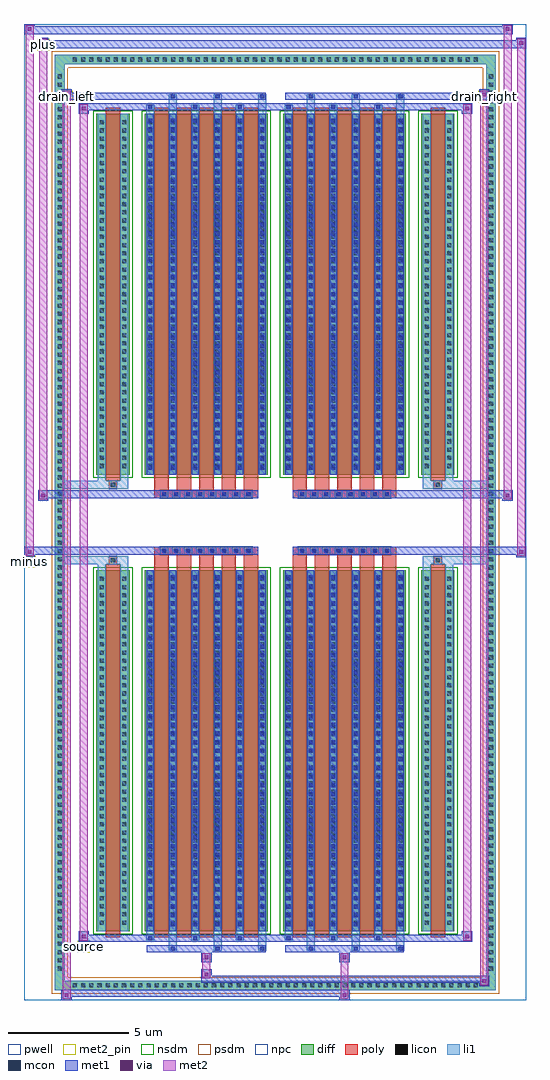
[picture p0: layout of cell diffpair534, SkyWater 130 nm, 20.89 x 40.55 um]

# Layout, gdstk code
import gdstk
lib = gdstk.Library(unit=1e-6, precision=5e-09)
def R(c, l, rs):  # rectangles x0, y0, x1, y1
    for r in rs: c.add(gdstk.rectangle(r[:2], r[2:], *l))
def A(c, l, x, y, w, h, nx, ny, dx, dy):  # array of equal rectangles
    R(c, l, [(x+i*dx, y+j*dy, x+i*dx+w, y+j*dy+h) for i in range(nx) for j in range(ny)])
def P(c, l, *ps):  # polygons
    for p in ps: c.add(gdstk.Polygon(p, *l))
pwell = (64, 44)
diff = (65, 20)
poly = (66, 20)
licon = (66, 44)
li1 = (67, 20)
mcon = (67, 44)
met1 = (68, 20)
via = (68, 44)
met2_pin = (69, 16)
met2 = (69, 20)
nsdm = (93, 44)
psdm = (94, 20)
npc = (95, 20)

diffpair534 = lib.new_cell('diffpair534')
R(diffpair534, pwell, [(-10.43,-19.84,10.43,20.71), (-7.75,-18.03,-0.01,-0.805), (0.01,-18.03,7.75,-0.805), (-7.75,0.805,-0.01,18.03), (0.01,0.805,7.75,18.03)])
A(diffpair534, diff, -8.535, -19.44, 0.41, 0.41, 50, 2, 0.34, 38.47)
A(diffpair534, diff, -9.16, -18.735, 0.41, 0.41, 1, 110, 0, 0.34)
A(diffpair534, diff, 8.75, -18.735, 0.41, 0.41, 1, 110, 0, 0.34)
R(diffpair534, diff, [(-8.535,-19.44,8.535,-19.03), (-9.16,-18.735,-8.75,18.735), (8.75,-18.735,9.16,18.735), (-7.44,-16.985,-6.06,-1.985), (-5.42,-16.985,-0.32,-1.985), (0.32,-16.985,5.42,-1.985), (6.06,-16.985,7.44,-1.985), (-7.44,1.985,-6.06,16.985), (-5.42,1.985,-0.32,16.985), (0.32,1.985,5.42,16.985), (6.06,1.985,7.44,16.985), (-8.535,19.03,8.535,19.44)])
P(diffpair534, diff, [(9.16,19.44),(-9.16,19.44),(-9.16,-19.03),(-8.75,-19.03),(-8.75,19.03),(8.75,19.03),(8.75,-19.03),(-8.75,-19.03),(-9.16,-19.03),(-9.16,-19.44),(9.16,-19.44)])
A(diffpair534, poly, -5.03, -17.235, 0.6, 15.5, 5, 2, 0.93, 18.97)
A(diffpair534, poly, 0.71, -17.235, 0.6, 15.5, 5, 2, 0.93, 18.97)
A(diffpair534, poly, -5.03, -1.735, 0.6, 0.4, 5, 2, 0.93, 3.07)
A(diffpair534, poly, 0.71, -1.735, 0.6, 0.4, 5, 2, 0.93, 3.07)
A(diffpair534, poly, -4.785, -1.335, 0.33, 0.33, 8, 2, 0.5, 2.34)
A(diffpair534, poly, 0.955, -1.335, 0.33, 0.33, 8, 2, 0.5, 2.34)
R(diffpair534, poly, [(-7.05,-17.235,-6.45,-1.735), (6.45,-17.235,7.05,-1.735), (-6.915,-1.735,-6.585,-1.405), (-6.915,-1.735,-6.585,-1.405), (6.585,-1.735,6.915,-1.405), (6.585,-1.735,6.915,-1.405), (-5.03,-1.335,-0.71,-1.005), (0.71,-1.335,5.03,-1.005), (-5.03,1.005,-0.71,1.335), (0.71,1.005,5.03,1.335), (-6.915,1.405,-6.585,1.735), (-6.915,1.405,-6.585,1.735), (6.585,1.405,6.915,1.735), (6.585,1.405,6.915,1.735), (-7.05,1.735,-6.45,17.235), (6.45,1.735,7.05,17.235)])
A(diffpair534, licon, -8.415, -19.32, 0.17, 0.17, 50, 2, 0.34, 38.47)
A(diffpair534, licon, -9.04, -18.615, 0.17, 0.17, 1, 110, 0, 0.34)
A(diffpair534, licon, 8.87, -18.615, 0.17, 0.17, 1, 110, 0, 0.34)
A(diffpair534, licon, -7.3, -16.71, 0.17, 0.17, 1, 43, 0, 0.34)
A(diffpair534, licon, -6.37, -16.71, 0.17, 0.17, 1, 43, 0, 0.34)
A(diffpair534, licon, -5.28, -16.71, 0.17, 0.17, 6, 43, 0.93, 0.34)
A(diffpair534, licon, 0.46, -16.71, 0.17, 0.17, 6, 43, 0.93, 0.34)
A(diffpair534, licon, 6.2, -16.71, 0.17, 0.17, 1, 43, 0, 0.34)
A(diffpair534, licon, 7.13, -16.71, 0.17, 0.17, 1, 43, 0, 0.34)
A(diffpair534, licon, -4.705, -1.255, 0.17, 0.17, 8, 2, 0.5, 2.34)
A(diffpair534, licon, 1.035, -1.255, 0.17, 0.17, 8, 2, 0.5, 2.34)
A(diffpair534, licon, -7.3, 2.26, 0.17, 0.17, 1, 43, 0, 0.34)
A(diffpair534, licon, -6.37, 2.26, 0.17, 0.17, 1, 43, 0, 0.34)
A(diffpair534, licon, -5.28, 2.26, 0.17, 0.17, 6, 43, 0.93, 0.34)
A(diffpair534, licon, 0.46, 2.26, 0.17, 0.17, 6, 43, 0.93, 0.34)
A(diffpair534, licon, 6.2, 2.26, 0.17, 0.17, 1, 43, 0, 0.34)
A(diffpair534, licon, 7.13, 2.26, 0.17, 0.17, 1, 43, 0, 0.34)
R(diffpair534, licon, [(-6.835,-1.655,-6.665,-1.485), (6.665,-1.655,6.835,-1.485), (-6.835,1.485,-6.665,1.655), (6.665,1.485,6.835,1.655)])
A(diffpair534, li1, -8.495, -19.4, 0.33, 0.33, 50, 2, 0.34, 38.47)
A(diffpair534, li1, -9.12, -18.695, 0.33, 0.33, 1, 110, 0, 0.34)
A(diffpair534, li1, 8.79, -18.695, 0.33, 0.33, 1, 110, 0, 0.34)
A(diffpair534, li1, -4.43, -17.79, 0.33, 0.805, 3, 2, 1.86, 34.775)
A(diffpair534, li1, -4.35, -17.79, 0.17, 0.17, 3, 2, 1.86, 35.41)
A(diffpair534, li1, 1.31, -17.79, 0.33, 0.805, 3, 2, 1.86, 34.775)
A(diffpair534, li1, 1.39, -17.79, 0.17, 0.17, 3, 2, 1.86, 35.41)
A(diffpair534, li1, -5.36, -17.36, 0.33, 0.375, 3, 2, 1.86, 34.345)
A(diffpair534, li1, -5.28, -17.36, 0.17, 0.17, 3, 2, 1.86, 34.55)
A(diffpair534, li1, 0.38, -17.36, 0.33, 0.375, 3, 2, 1.86, 34.345)
A(diffpair534, li1, 0.46, -17.36, 0.17, 0.17, 3, 2, 1.86, 34.55)
A(diffpair534, li1, -5.36, -16.985, 0.33, 15, 6, 2, 0.93, 18.97)
A(diffpair534, li1, 0.38, -16.985, 0.33, 15, 6, 2, 0.93, 18.97)
A(diffpair534, li1, -7.38, -16.79, 0.33, 0.33, 1, 43, 0, 0.34)
A(diffpair534, li1, -6.45, -16.79, 0.33, 0.33, 1, 43, 0, 0.34)
A(diffpair534, li1, -5.36, -16.79, 0.33, 0.33, 6, 43, 0.93, 0.34)
A(diffpair534, li1, 0.38, -16.79, 0.33, 0.33, 6, 43, 0.93, 0.34)
A(diffpair534, li1, 6.12, -16.79, 0.33, 0.33, 1, 43, 0, 0.34)
A(diffpair534, li1, 7.05, -16.79, 0.33, 0.33, 1, 43, 0, 0.34)
A(diffpair534, li1, -5.28, -16.77, 0.17, 0.17, 6, 41, 0.93, 0.36)
A(diffpair534, li1, -5.28, -16.77, 0.17, 14.57, 6, 2, 0.93, 18.97)
A(diffpair534, li1, 0.46, -16.77, 0.17, 0.17, 6, 41, 0.93, 0.36)
A(diffpair534, li1, 0.46, -16.77, 0.17, 14.57, 6, 2, 0.93, 18.97)
A(diffpair534, li1, -4.785, -1.335, 0.33, 0.33, 8, 2, 0.5, 2.34)
A(diffpair534, li1, 0.955, -1.335, 0.33, 0.33, 8, 2, 0.5, 2.34)
A(diffpair534, li1, -7.38, 2.18, 0.33, 0.33, 1, 43, 0, 0.34)
A(diffpair534, li1, -6.45, 2.18, 0.33, 0.33, 1, 43, 0, 0.34)
A(diffpair534, li1, -5.36, 2.18, 0.33, 0.33, 6, 43, 0.93, 0.34)
A(diffpair534, li1, 0.38, 2.18, 0.33, 0.33, 6, 43, 0.93, 0.34)
A(diffpair534, li1, 6.12, 2.18, 0.33, 0.33, 1, 43, 0, 0.34)
A(diffpair534, li1, 7.05, 2.18, 0.33, 0.33, 1, 43, 0, 0.34)
A(diffpair534, li1, -5.28, 2.2, 0.17, 0.17, 6, 41, 0.93, 0.36)
A(diffpair534, li1, 0.46, 2.2, 0.17, 0.17, 6, 41, 0.93, 0.36)
R(diffpair534, li1, [(-9.16,-19.44,-8.75,-19.03), (-9.16,-19.44,-8.75,-19.03), (-8.75,-19.44,8.75,-19.03), (8.75,-19.44,9.16,-19.03), (8.75,-19.44,9.16,-19.03), (-9.16,-19.03,-8.75,19.03), (8.75,-19.03,9.16,19.03), (-7.38,-16.985,-7.05,-1.985), (-6.45,-16.985,-6.12,-1.985), (6.12,-16.985,6.45,-1.985), (7.05,-16.985,7.38,-1.985), (-7.38,-1.985,-7.05,-1.405), (-6.45,-1.985,-6.12,-1.405), (6.12,-1.985,6.45,-1.405), (7.05,-1.985,7.38,-1.405), (-9.16,-1.735,-6.915,-1.405), (-7.38,-1.735,-6.915,-1.405), (-6.915,-1.735,-6.585,-1.405), (-6.585,-1.735,-6.12,-1.405), (6.12,-1.735,6.585,-1.405), (6.585,-1.735,6.915,-1.405), (6.585,-1.735,9.16,-1.405), (6.915,-1.735,7.38,-1.405), (-9.16,1.405,-6.915,1.735), (-7.38,1.405,-6.915,1.735), (-7.38,1.405,-7.05,1.985), (-6.915,1.405,-6.585,1.735), (-6.585,1.405,-6.12,1.735), (-6.45,1.405,-6.12,1.985), (6.12,1.405,6.585,1.735), (6.12,1.405,6.45,1.985), (6.585,1.405,6.915,1.735), (6.585,1.405,9.16,1.735), (6.915,1.405,7.38,1.735), (7.05,1.405,7.38,1.985), (-7.38,1.985,-7.05,16.985), (-6.45,1.985,-6.12,16.985), (6.12,1.985,6.45,16.985), (7.05,1.985,7.38,16.985), (-9.16,19.03,-8.75,19.44), (-9.16,19.03,-8.75,19.44), (-8.75,19.03,8.75,19.44), (8.75,19.03,9.16,19.44), (8.75,19.03,9.16,19.44)])
A(diffpair534, mcon, -4.35, -17.79, 0.17, 0.17, 3, 2, 1.86, 35.41)
A(diffpair534, mcon, 1.39, -17.79, 0.17, 0.17, 3, 2, 1.86, 35.41)
A(diffpair534, mcon, -5.28, -17.36, 0.17, 0.17, 3, 2, 1.86, 34.55)
A(diffpair534, mcon, 0.46, -17.36, 0.17, 0.17, 3, 2, 1.86, 34.55)
A(diffpair534, mcon, -5.28, -16.77, 0.17, 0.17, 6, 41, 0.93, 0.36)
A(diffpair534, mcon, 0.46, -16.77, 0.17, 0.17, 6, 41, 0.93, 0.36)
A(diffpair534, mcon, -4.705, -1.255, 0.17, 0.17, 8, 2, 0.5, 2.34)
A(diffpair534, mcon, 1.035, -1.255, 0.17, 0.17, 8, 2, 0.5, 2.34)
A(diffpair534, mcon, -5.28, 2.2, 0.17, 0.17, 6, 41, 0.93, 0.36)
A(diffpair534, mcon, 0.46, 2.2, 0.17, 0.17, 6, 41, 0.93, 0.36)
A(diffpair534, met1, -4.41, -17.85, 0.29, 0.29, 3, 2, 1.86, 35.41)
A(diffpair534, met1, 1.33, -17.85, 0.29, 0.29, 3, 2, 1.86, 35.41)
A(diffpair534, met1, -5.34, -17.42, 0.29, 0.29, 3, 2, 1.86, 34.55)
A(diffpair534, met1, 0.4, -17.42, 0.29, 0.29, 3, 2, 1.86, 34.55)
A(diffpair534, met1, -5.34, -16.985, 0.29, 15, 6, 2, 0.93, 18.97)
A(diffpair534, met1, 0.4, -16.985, 0.29, 15, 6, 2, 0.93, 18.97)
A(diffpair534, met1, -5.34, -16.83, 0.29, 0.29, 6, 41, 0.93, 0.36)
A(diffpair534, met1, 0.4, -16.83, 0.29, 0.29, 6, 41, 0.93, 0.36)
A(diffpair534, met1, -4.765, -1.315, 0.29, 0.29, 8, 2, 0.5, 2.34)
A(diffpair534, met1, 0.975, -1.315, 0.29, 0.29, 8, 2, 0.5, 2.34)
A(diffpair534, met1, -5.34, 2.14, 0.29, 0.29, 6, 41, 0.93, 0.36)
A(diffpair534, met1, 0.4, 2.14, 0.29, 0.29, 6, 41, 0.93, 0.36)
R(diffpair534, met1, [(-8.89,-19.84,-8.46,-19.41), (2.655,-19.84,3.085,-19.41), (-8.89,-19.7,3.085,-19.41), (8.46,-19.27,8.89,-18.84), (-3.085,-19.13,8.89,-18.84), (-3.085,-18.99,-2.655,-18.56), (-3.085,-18.28,-2.655,-17.85), (2.655,-18.28,3.085,-17.85), (-5.34,-17.85,-0.4,-17.56), (0.4,-17.85,5.34,-17.56), (-8.18,-17.42,-7.75,-16.99), (-8.18,-17.42,-5.34,-17.13), (-5.34,-17.42,-0.4,-17.13), (-0.4,-17.42,0.4,-17.13), (0.4,-17.42,5.34,-17.13), (5.34,-17.42,8.18,-17.13), (7.75,-17.42,8.18,-16.99), (-10.43,-1.435,-10,-1.005), (10,-1.435,10.43,-1.005), (-10.43,-1.335,-0.71,-1.005), (-5.03,-1.335,-0.71,-1.005), (0.71,-1.335,5.03,-1.005), (0.71,-1.335,10.43,-1.005), (-9.86,0.905,-9.43,1.335), (9.43,0.905,9.86,1.335), (-9.86,1.005,-5.03,1.335), (-5.03,1.005,-0.71,1.335), (0.71,1.005,5.03,1.335), (5.03,1.005,9.86,1.335), (-8.18,16.99,-7.75,17.42), (7.75,16.99,8.18,17.42), (-8.18,17.13,-5.34,17.42), (-5.34,17.13,-0.4,17.42), (-0.4,17.13,0.4,17.42), (0.4,17.13,5.34,17.42), (5.34,17.13,8.18,17.42), (-8.89,17.56,-8.46,17.99), (-8.89,17.56,-5.34,17.85), (-5.34,17.56,-0.4,17.85), (0.4,17.56,5.34,17.85), (5.34,17.56,8.89,17.85), (8.46,17.56,8.89,17.99), (-9.86,19.71,-9.43,20.14), (-9.86,19.71,-7.75,20.04), (-7.75,19.71,7.75,20.04), (7.75,19.71,10.43,20.04), (10,19.71,10.43,20.14), (-10.43,20.28,-10,20.71), (-10.43,20.28,-7.75,20.61), (-7.75,20.28,7.75,20.61), (7.75,20.28,9.86,20.61), (9.43,20.28,9.86,20.71)])
R(diffpair534, via, [(-8.75,-19.7,-8.6,-19.55), (2.795,-19.7,2.945,-19.55), (8.6,-19.13,8.75,-18.98), (-2.945,-18.85,-2.795,-18.7), (-2.945,-18.14,-2.795,-17.99), (2.795,-18.14,2.945,-17.99), (-8.04,-17.28,-7.89,-17.13), (7.89,-17.28,8.04,-17.13), (-10.29,-1.295,-10.14,-1.145), (10.14,-1.295,10.29,-1.145), (-9.72,1.045,-9.57,1.195), (9.57,1.045,9.72,1.195), (-8.04,17.13,-7.89,17.28), (7.89,17.13,8.04,17.28), (-8.75,17.7,-8.6,17.85), (8.6,17.7,8.75,17.85), (-9.72,19.85,-9.57,20), (10.14,19.85,10.29,20), (-10.29,20.42,-10.14,20.57), (9.57,20.42,9.72,20.57)])
R(diffpair534, met2_pin, [(-8.215,-17.87,-7.715,-17.37), (-10.465,-1.885,-9.965,-1.385), (-8.925,17.44,-8.425,17.94), (8.425,17.44,8.925,17.94), (-9.895,19.59,-9.395,20.09)])
R(diffpair534, met2, [(-8.84,-19.79,-8.51,-19.46), (-8.84,-19.79,-8.51,17.94), (2.705,-19.79,3.035,-19.46), (2.705,-19.46,3.035,-18.23), (8.51,-19.22,8.84,-18.89), (8.51,-19.22,8.84,17.94), (-3.035,-18.94,-2.705,-18.61), (-3.035,-18.61,-2.705,-18.23), (-3.035,-18.23,-2.705,-17.9), (2.705,-18.23,3.035,-17.9), (-8.13,-17.37,-7.8,-17.04), (-8.13,-17.37,-7.8,17.37), (7.8,-17.37,8.13,-17.04), (7.8,-17.37,8.13,17.37), (-10.38,-1.385,-10.05,-1.055), (-10.38,-1.385,-10.05,20.66), (10.05,-1.385,10.38,-1.055), (10.05,-1.385,10.38,20.09), (-9.81,0.955,-9.48,1.285), (-9.81,0.955,-9.48,20.09), (9.48,0.955,9.81,1.285), (9.48,0.955,9.81,20.66), (-8.13,17.04,-7.8,17.37), (7.8,17.04,8.13,17.37), (-8.84,17.61,-8.51,17.94), (8.51,17.61,8.84,17.94), (-9.81,19.76,-9.48,20.09), (10.05,19.76,10.38,20.09), (-10.38,20.33,-10.05,20.66), (9.48,20.33,9.81,20.66)])
P(diffpair534, met2, [(10.38,-1.385),(10.38,-1.385),(10.38,-1.055),(10.38,-1.055)],
  [(10.38,19.76),(10.38,19.76),(10.38,20.09),(10.38,20.09)],
  [(-10.05,-1.385),(-10.05,-1.385),(-10.05,-1.055),(-10.05,-1.055)],
  [(-10.05,20.33),(-10.05,20.33),(-10.05,20.66),(-10.05,20.66)],
  [(9.81,0.955),(9.81,0.955),(9.81,1.285),(9.81,1.285)],
  [(9.81,20.33),(9.81,20.33),(9.81,20.66),(9.81,20.66)],
  [(-9.48,0.955),(-9.48,0.955),(-9.48,1.285),(-9.48,1.285)],
  [(-9.48,19.76),(-9.48,19.76),(-9.48,20.09),(-9.48,20.09)],
  [(-8.51,-19.79),(-8.51,-19.79),(-8.51,-19.46),(-8.51,-19.46)],
  [(-8.51,17.61),(-8.51,17.61),(-8.51,17.94),(-8.51,17.94)],
  [(8.84,-19.22),(8.84,-19.22),(8.84,-18.89),(8.84,-18.89)],
  [(8.84,17.61),(8.84,17.61),(8.84,17.94),(8.84,17.94)],
  [(-7.8,-17.37),(-7.8,-17.37),(-7.8,-17.04),(-7.8,-17.04)],
  [(-7.8,17.04),(-7.8,17.04),(-7.8,17.37),(-7.8,17.37)],
  [(8.13,-17.37),(8.13,-17.37),(8.13,-17.04),(8.13,-17.04)],
  [(8.13,17.04),(8.13,17.04),(8.13,17.37),(8.13,17.37)])
R(diffpair534, nsdm, [(-7.57,-17.115,-5.93,-1.855), (-5.55,-17.115,-0.19,-1.855), (0.19,-17.115,5.55,-1.855), (5.93,-17.115,7.57,-1.855), (-7.57,1.855,-5.93,17.115), (-5.55,1.855,-0.19,17.115), (0.19,1.855,5.55,17.115), (5.93,1.855,7.57,17.115)])
P(diffpair534, psdm, [(9.29,19.57),(-9.29,19.57),(-9.29,-18.9),(-8.62,-18.9),(-8.62,18.9),(8.62,18.9),(8.62,-18.9),(-8.62,-18.9),(-9.29,-18.9),(-9.29,-19.57),(9.29,-19.57)])
A(diffpair534, npc, -4.805, -1.355, 0.37, 0.37, 8, 2, 0.5, 2.34)
A(diffpair534, npc, 0.935, -1.355, 0.37, 0.37, 8, 2, 0.5, 2.34)
R(diffpair534, npc, [(-6.935,-1.755,-6.565,-1.385), (6.565,-1.755,6.935,-1.385), (-4.805,-1.355,-3.935,-0.985), (-4.805,-1.355,-3.935,-0.985), (-4.305,-1.355,-3.435,-0.985), (-4.305,-1.355,-3.435,-0.985), (-3.805,-1.355,-2.935,-0.985), (-3.805,-1.355,-2.935,-0.985), (-3.305,-1.355,-2.435,-0.985), (-3.305,-1.355,-2.435,-0.985), (-2.805,-1.355,-1.935,-0.985), (-2.805,-1.355,-1.935,-0.985), (-2.305,-1.355,-1.435,-0.985), (-2.305,-1.355,-1.435,-0.985), (-1.805,-1.355,-0.935,-0.985), (-1.805,-1.355,-0.935,-0.985), (0.935,-1.355,1.805,-0.985), (0.935,-1.355,1.805,-0.985), (1.435,-1.355,2.305,-0.985), (1.435,-1.355,2.305,-0.985), (1.935,-1.355,2.805,-0.985), (1.935,-1.355,2.805,-0.985), (2.435,-1.355,3.305,-0.985), (2.435,-1.355,3.305,-0.985), (2.935,-1.355,3.805,-0.985), (2.935,-1.355,3.805,-0.985), (3.435,-1.355,4.305,-0.985), (3.435,-1.355,4.305,-0.985), (3.935,-1.355,4.805,-0.985), (3.935,-1.355,4.805,-0.985), (-4.805,0.985,-3.935,1.355), (-4.805,0.985,-3.935,1.355), (-4.305,0.985,-3.435,1.355), (-4.305,0.985,-3.435,1.355), (-3.805,0.985,-2.935,1.355), (-3.805,0.985,-2.935,1.355), (-3.305,0.985,-2.435,1.355), (-3.305,0.985,-2.435,1.355), (-2.805,0.985,-1.935,1.355), (-2.805,0.985,-1.935,1.355), (-2.305,0.985,-1.435,1.355), (-2.305,0.985,-1.435,1.355), (-1.805,0.985,-0.935,1.355), (-1.805,0.985,-0.935,1.355), (0.935,0.985,1.805,1.355), (0.935,0.985,1.805,1.355), (1.435,0.985,2.305,1.355), (1.435,0.985,2.305,1.355), (1.935,0.985,2.805,1.355), (1.935,0.985,2.805,1.355), (2.435,0.985,3.305,1.355), (2.435,0.985,3.305,1.355), (2.935,0.985,3.805,1.355), (2.935,0.985,3.805,1.355), (3.435,0.985,4.305,1.355), (3.435,0.985,4.305,1.355), (3.935,0.985,4.805,1.355), (3.935,0.985,4.805,1.355), (-6.935,1.385,-6.565,1.755), (6.565,1.385,6.935,1.755)])
diffpair534.add(gdstk.Label('minus', (-10.215,-1.635), layer=69, texttype=5))
diffpair534.add(gdstk.Label('drain_right', (8.675,17.69), layer=69, texttype=5))
diffpair534.add(gdstk.Label('drain_left', (-8.675,17.69), layer=69, texttype=5))
diffpair534.add(gdstk.Label('source', (-7.965,-17.62), layer=69, texttype=5))
diffpair534.add(gdstk.Label('plus', (-9.645,19.84), layer=69, texttype=5))

lib.write_gds('diffpair534.gds')
